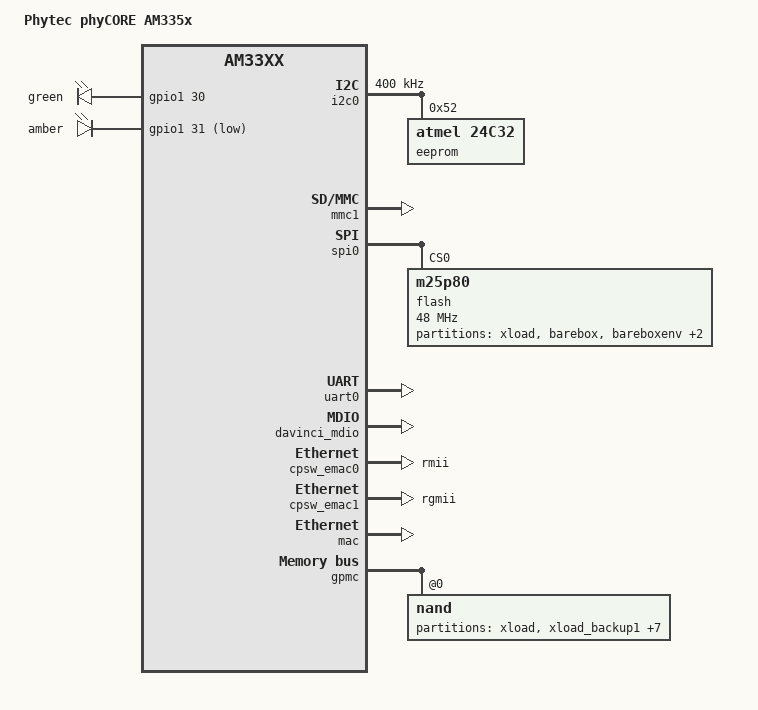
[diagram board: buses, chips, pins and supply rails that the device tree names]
/dts-v1/;

#include "am33xx.dtsi"

/ {
	model = "Phytec phyCORE AM335x";
	compatible = "phytec,phycore-am335x", "phytec,pcm051", "ti,am33xx";

	chosen {
		linux,stdout-path = &uart0;

		environment-spi {
			compatible = "barebox,environment";
			device-path = &flash, "partname:bareboxenv";
			status = "disabled";
		};

		environment-nand {
			compatible = "barebox,environment";
			device-path = &nand, "partname:bareboxenv";
			status = "disabled";
		};
	};

	gpio-leds {
		compatible = "gpio-leds";
		pinctrl-names = "default";
		pinctrl-0 = <&pcm051_led_pins>;

		led-green {
			label = "green";
			gpios = <&gpio1 30 0>;
			linux,default-trigger = "heartbeat";
		};

		led-amber {
			label = "amber";
			gpios = <&gpio1 31 1>;
		};
	};
};

&am33xx_pinmux {
	i2c0_pins: pinmux_i2c0_pins {
			pinctrl-single,pins = <
			0x188 (PIN_INPUT_PULLUP | MUX_MODE0)    /* i2c0_sda.i2c0_sda */
			0x18c (PIN_INPUT_PULLUP | MUX_MODE0)    /* i2c0_scl.i2c0_scl */
		>;
	};

	spi0_pins: pinmux_spi0_pins {
		pinctrl-single,pins = <
			0x150 (PIN_INPUT_PULLDOWN | MUX_MODE0)	/* spi0_clk.spi0_clk */
			0x154 (PIN_INPUT_PULLDOWN | MUX_MODE0)	/* spi0_d0.spi0_d0 */
			0x158 (PIN_INPUT_PULLUP | MUX_MODE0)	/* spi0_d1.spi0_d1 */
			0x15c (PIN_INPUT_PULLUP | MUX_MODE0)	/* spi0_cs0.spi0_cs0 */
		>;
	};

	uart0_pins: pinmux_uart0_pins {
		pinctrl-single,pins = <
			0x170 (PIN_INPUT_PULLUP | MUX_MODE0)    /* uart0_rxd.uart0_rxd */
			0x174 (PIN_OUTPUT_PULLDOWN | MUX_MODE0) /* uart0_txd.uart0_txd */
		>;
	};

	mmc1_pins: pinmux_mmc1_pins {
		pinctrl-single,pins = <
			0xf0 (MUX_MODE0 | INPUT_EN | PULL_UP)	/* mmc0_dat3.mmc0_dat3 */
			0xf4 (MUX_MODE0 | INPUT_EN | PULL_UP)	/* mmc0_dat2.mmc0_dat2 */
			0xf8 (MUX_MODE0 | INPUT_EN | PULL_UP)	/* mmc0_dat1.mmc0_dat1 */
			0xfc (MUX_MODE0 | INPUT_EN | PULL_UP)	/* mmc0_dat0.mmc0_dat0 */
			0x100 (MUX_MODE0 | INPUT_EN | PULL_UP)	/* mmc0_clk.mmc0_clk */
			0x104 (MUX_MODE0 | INPUT_EN | PULL_UP)	/* mmc0_cmd.mmc0_cmd */
			0x160 (MUX_MODE7 | INPUT_EN | PULL_UP)	/* spi0_cs1.??, card detect */
		>;
	};

	emac_rmii1_pins: pinmux_emac_rmii1_pins {
		pinctrl-single,pins = <
			0x10c (PIN_INPUT_PULLDOWN | MUX_MODE1)	/* mii1_crs.rmii1_crs_dv */
			0x110 (PIN_INPUT_PULLDOWN | MUX_MODE1)	/* mii1_rxerr.rmii1_rxerr */
			0x114 (PIN_OUTPUT | MUX_MODE1)		/* mii1_txen.rmii1_txen */
			0x124 (PIN_OUTPUT | MUX_MODE1)		/* mii1_txd1.rmii1_txd1 */
			0x128 (PIN_OUTPUT | MUX_MODE1)		/* mii1_txd0.rmii1_txd0 */
			0x13c (PIN_INPUT_PULLDOWN | MUX_MODE1)	/* mii1_rxd1.rmii1_rxd1 */
			0x140 (PIN_INPUT_PULLDOWN | MUX_MODE1)	/* mii1_rxd0.rmii1_rxd0 */
			0x144 (PIN_INPUT_PULLDOWN | MUX_MODE0)	/* rmii1_refclk.rmii1_refclk */

			/* Slave 2 */
			0x40 (PIN_OUTPUT_PULLDOWN | MUX_MODE2)  /* gpmc_a0.rgmii2_tctl */
			0x44 (PIN_INPUT_PULLDOWN | MUX_MODE2)   /* gpmc_a1.rgmii2_rctl */
			0x48 (PIN_OUTPUT_PULLDOWN | MUX_MODE2)  /* gpmc_a2.rgmii2_td3 */
			0x4c (PIN_OUTPUT_PULLDOWN | MUX_MODE2)  /* gpmc_a3.rgmii2_td2 */
			0x50 (PIN_OUTPUT_PULLDOWN | MUX_MODE2)  /* gpmc_a4.rgmii2_td1 */
			0x54 (PIN_OUTPUT_PULLDOWN | MUX_MODE2)  /* gpmc_a5.rgmii2_td0 */
			0x58 (PIN_OUTPUT_PULLDOWN | MUX_MODE2)  /* gpmc_a6.rgmii2_tclk */
			0x5c (PIN_INPUT_PULLDOWN | MUX_MODE2)   /* gpmc_a7.rgmii2_rclk */
			0x60 (PIN_INPUT_PULLDOWN | MUX_MODE2)   /* gpmc_a8.rgmii2_rd3 */
			0x64 (PIN_INPUT_PULLDOWN | MUX_MODE2)   /* gpmc_a9.rgmii2_rd2 */
			0x68 (PIN_INPUT_PULLDOWN | MUX_MODE2)   /* gpmc_a10.rgmii2_rd1 */
			0x6c (PIN_INPUT_PULLDOWN | MUX_MODE2)   /* gpmc_a11.rgmii2_rd0 */
		>;
	};

	nandflash_pins_s0: nandflash_pins_s0 {
		pinctrl-single,pins = <
			0x0 (PIN_INPUT_PULLUP | MUX_MODE0)	/* gpmc_ad0.gpmc_ad0 */
			0x4 (PIN_INPUT_PULLUP | MUX_MODE0)	/* gpmc_ad1.gpmc_ad1 */
			0x8 (PIN_INPUT_PULLUP | MUX_MODE0)	/* gpmc_ad2.gpmc_ad2 */
			0xc (PIN_INPUT_PULLUP | MUX_MODE0)	/* gpmc_ad3.gpmc_ad3 */
			0x10 (PIN_INPUT_PULLUP | MUX_MODE0)	/* gpmc_ad4.gpmc_ad4 */
			0x14 (PIN_INPUT_PULLUP | MUX_MODE0)	/* gpmc_ad5.gpmc_ad5 */
			0x18 (PIN_INPUT_PULLUP | MUX_MODE0)	/* gpmc_ad6.gpmc_ad6 */
			0x1c (PIN_INPUT_PULLUP | MUX_MODE0)	/* gpmc_ad7.gpmc_ad7 */
			0x70 (PIN_INPUT_PULLUP | MUX_MODE0)	/* gpmc_wait0.gpmc_wait0 */
			0x74 (PIN_INPUT_PULLUP | MUX_MODE7)	/* gpmc_wpn.gpio0_30 */
			0x7c (PIN_OUTPUT | MUX_MODE0)		/* gpmc_csn0.gpmc_csn0  */
			0x90 (PIN_OUTPUT | MUX_MODE0)		/* gpmc_advn_ale.gpmc_advn_ale */
			0x94 (PIN_OUTPUT | MUX_MODE0)		/* gpmc_oen_ren.gpmc_oen_ren */
			0x98 (PIN_OUTPUT | MUX_MODE0)		/* gpmc_wen.gpmc_wen */
			0x9c (PIN_OUTPUT | MUX_MODE0)		/* gpmc_be0n_cle.gpmc_be0n_cle */
		>;
	};

	davinci_mdio_default: davinci_mdio_default {
		pinctrl-single,pins = <
			/* MDIO */
			0x148 (PIN_INPUT_PULLUP | SLEWCTRL_FAST | MUX_MODE0)	/* mdio_data.mdio_data */
			0x14c (PIN_OUTPUT_PULLUP | MUX_MODE0)			/* mdio_clk.mdio_clk */
		>;
	};

	pcm051_led_pins: pinmux_pcm051_led_pins {
		pinctrl-single,pins = <
			0x80 (MUX_MODE7)
			0x84 (MUX_MODE7)
		>;
	};

	pcm051_user_pins: pinmux_pcm051_user_pins {
		pinctrl-single,pins = <
			0x1e4 (PULL_UP |INPUT_EN |MUX_MODE7)
			0x1e8 (PULL_UP |INPUT_EN |MUX_MODE7)
		>;
	};
};

&i2c0 {
	pinctrl-names = "default";
	pinctrl-0 = <&i2c0_pins>;

	status = "okay";
	clock-frequency = <400000>;

	eeprom: 24c32@52 {
		compatible = "atmel,24c32";
		pagesize = <32>;
		reg = <0x52>;
	};
};

&mmc1 {
	pinctrl-names = "default";
	pinctrl-0 = <&mmc1_pins>;
	status = "okay";
};

&spi0 {
	pinctrl-names = "default";
	pinctrl-0 = <&spi0_pins>;
	status = "okay";

	flash: m25p80 {
		compatible = "m25p80";
		spi-max-frequency = <48000000>;
		reg = <0>;
		#address-cells = <1>;
		#size-cells = <1>;

		partition@0 {
			label = "xload";
			reg = <0x0 0x20000>;
		};

		partition@1 {
			label = "barebox";
			reg = <0x20000 0x80000>;
		};

		partition@2 {
			label = "bareboxenv";
			reg = <0xa0000 0x20000>;
		};

		partition@3 {
			label = "oftree";
			reg = <0xc0000 0x20000>;
		};

		partition@4 {
			label = "kernel";
			reg = <0xe0000 0x400000>;
		};
	};
};

&uart0 {
	pinctrl-names = "default";
	pinctrl-0 = <&uart0_pins>;
	status = "okay";
};

&davinci_mdio {
	pinctrl-names = "default";
	pinctrl-0 = <&davinci_mdio_default>;
	status = "okay";
};

&phy_sel {
	rmii-clock-ext;
};

&cpsw_emac0 {
	phy_id = <&davinci_mdio>, <0>;
	phy-mode = "rmii";
	dual_emac_res_vlan = <1>;
};

&cpsw_emac1 {
	phy_id = <&davinci_mdio>, <2>;
	phy-mode = "rgmii";
	dual_emac_res_vlan = <2>;
};

&mac {
	pinctrl-names = "default";
	pinctrl-0 = <&emac_rmii1_pins>;
	dual_emac = <1>;
	status = "okay";
};

&gpmc {
	status = "okay";
	pinctrl-names = "default";
	pinctrl-0 = <&nandflash_pins_s0>;
	ranges = <0 0 0x08000000 0x10000000>;	/* CS0: NAND */
	nand: nand@0,0 {
		reg = <0 0 0>; /* CS0, offset 0 */
		nand-bus-width = <8>;
		ti,nand-ecc-opt = "bch8";
		gpmc,device-nand = "true";
		gpmc,device-width = <1>;
		gpmc,sync-clk-ps = <0>;
		gpmc,cs-on-ns = <0>;
		gpmc,cs-rd-off-ns = <30>;
		gpmc,cs-wr-off-ns = <30>;
		gpmc,adv-on-ns = <0>;
		gpmc,adv-rd-off-ns = <30>;
		gpmc,adv-wr-off-ns = <30>;
		gpmc,we-on-ns = <0>;
		gpmc,we-off-ns = <20>;
		gpmc,oe-on-ns = <10>;
		gpmc,oe-off-ns = <30>;
		gpmc,access-ns = <30>;
		gpmc,rd-cycle-ns = <30>;
		gpmc,wr-cycle-ns = <30>;
		gpmc,wait-pin = <1>;
		gpmc,wait-on-read = "true";
		gpmc,wait-on-write = "true";
		gpmc,bus-turnaround-ns = <0>;
		gpmc,cycle2cycle-delay-ns = <50>;
		gpmc,clk-activation-ns = <0>;
		gpmc,wait-monitoring-ns = <0>;
		gpmc,wr-access-ns = <0>;
		gpmc,wr-data-mux-bus-ns = <0>;

		#address-cells = <1>;
		#size-cells = <1>;
		elm_id = <&elm>;

		partition@0 {
			label = "xload";
			reg = <0x0 0x20000>;
		};

		partition@1 {
			label = "xload_backup1";
			reg = <0x20000 0x20000>;
		};

		partition@2 {
			label = "xload_backup2";
			reg = <0x40000 0x20000>;
		};

		partition@3 {
			label = "xload_backup3";
			reg = <0x60000 0x20000>;
		};

		partition@4 {
			label = "barebox";
			reg = <0x80000 0x80000>;
		};

		partition@5 {
			label = "bareboxenv";
			reg = <0x100000 0x20000>;
		};

		partition@6 {
			label = "oftree";
			reg = <0x120000 0x20000>;
		};

		partition@7 {
			label = "kernel";
			reg = <0x140000 0x800000>;
		};

		partition@8 {
			label = "root";
			/*
			 * Size 0x0 extends partition to
			 * end of nand flash.
			 */
			reg = <0x940000 0x0>;
		};
	};
};
